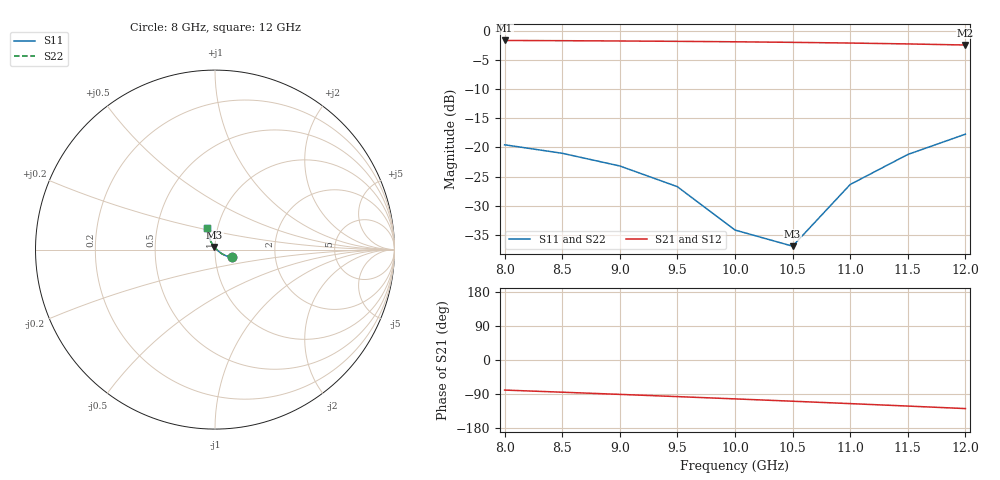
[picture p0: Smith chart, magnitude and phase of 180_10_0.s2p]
! Created Thu Oct 22 16:59:15 2020
# hz S ma R 50
! 2 Port Network Data from SP1.SP block
! freq  magS11  angS11  magS21  angS21  magS12  angS12  magS22  angS22
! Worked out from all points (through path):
!   9 points, 8 GHz to 12 GHz, reference 50 ohm
!   highest |S21| = -1.70 dB at 8 GHz (marker M1); lowest = -2.5 dB at 12 GHz (marker M2)
!   lowest |S11| = -36.9 dB at 10.5 GHz (marker M3), VSWR 1.03, Z = 49.7 + j1.39 ohm
!   |S11| at or under -10 dB: start of sweep to end of sweep
!   |S22| runs from -36.9 to -17.7 dB; largest |S21 - S12| = 0
8e9  0.1054 -23.5  0.8222 -79.3  0.8222 -79.3  0.1055 -23.5
8.5e9  0.08918 -26.6  0.8184 -85.0  0.8184 -85.0  0.08922 -26.6
9e9  0.06946 -29.5  0.8138 -90.7  0.8138 -90.7  0.0695 -29.6
9.5e9  0.0462 -31.1  0.808 -96.6  0.808 -96.6  0.04623 -31.3
1e10  0.01968 -24.3  0.8009 -102.6  0.8009 -102.6  0.01968 -24.5
1.05e10  0.01432 102.8  0.7922 -108.8  0.7922 -108.8  0.01425 103.0
1.1e10  0.04824 117.5  0.7813 -115.1  0.7813 -115.1  0.0482 117.6
1.15e10  0.08711 115.6  0.768 -121.6  0.768 -121.6  0.08707 115.6
1.2e10  0.1299 111.3  0.7517 -128.2  0.7517 -128.2  0.1299 111.3
